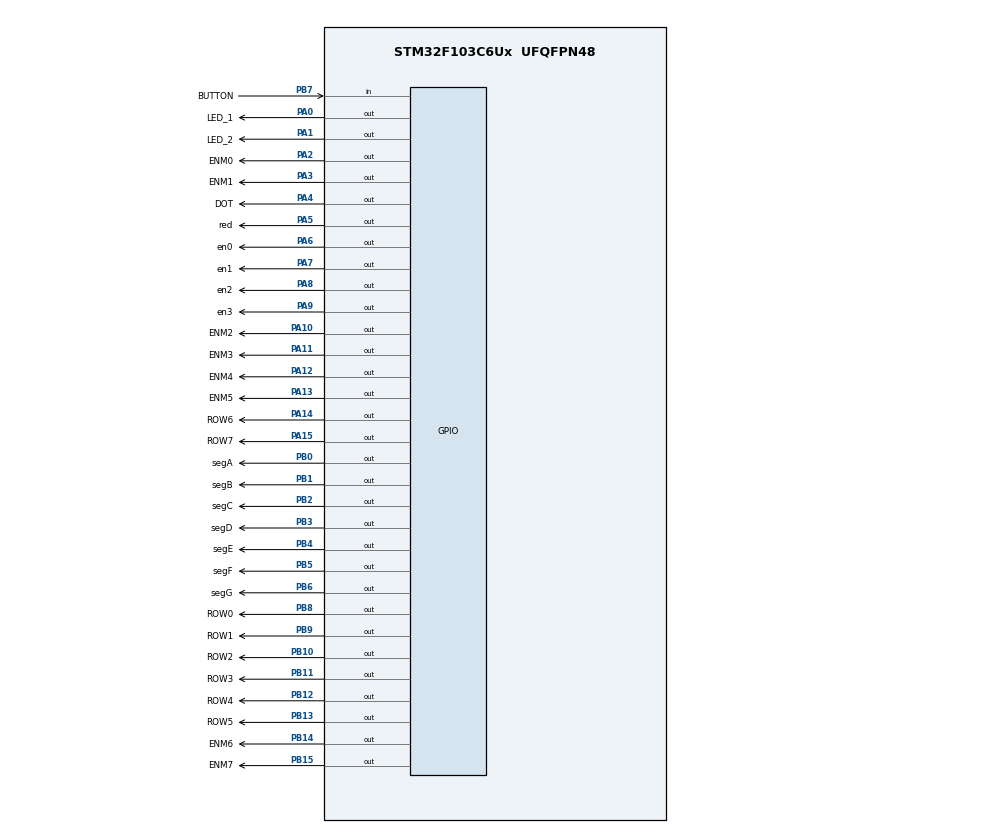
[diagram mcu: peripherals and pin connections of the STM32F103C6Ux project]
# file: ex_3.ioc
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Mcu.Family=STM32F1
Mcu.Name=STM32F103C6Ux
Mcu.Package=UFQFPN48
NVIC.PriorityGroup=NVIC_PRIORITYGROUP_4
NVIC.TIM2_IRQn=true\:0\:0\:false\:false\:true\:true\:true
PA0-WKUP.GPIO_Label=LED_1
PA0-WKUP.GPIO_ModeDefaultOutputPP=GPIO_MODE_OUTPUT_PP
PA0-WKUP.GPIO_Speed=GPIO_SPEED_FREQ_HIGH
PA0-WKUP.PinState=GPIO_PIN_RESET
PA0-WKUP.Signal=GPIO_Output
PA1.GPIO_Label=LED_2
PA1.GPIO_Speed=GPIO_SPEED_FREQ_HIGH
PA1.Signal=GPIO_Output
PA10.GPIO_Label=ENM2
PA10.GPIO_Speed=GPIO_SPEED_FREQ_HIGH
PA10.PinState=GPIO_PIN_SET
PA10.Signal=GPIO_Output
PA11.GPIO_Label=ENM3
PA11.GPIO_Speed=GPIO_SPEED_FREQ_HIGH
PA11.PinState=GPIO_PIN_SET
PA11.Signal=GPIO_Output
PA12.GPIO_Label=ENM4
PA12.GPIO_Speed=GPIO_SPEED_FREQ_HIGH
PA12.PinState=GPIO_PIN_SET
PA12.Signal=GPIO_Output
PA13.GPIO_Label=ENM5
PA13.GPIO_Speed=GPIO_SPEED_FREQ_HIGH
PA13.PinState=GPIO_PIN_SET
PA13.Signal=GPIO_Output
PA14.GPIO_Label=ROW6
PA14.GPIO_Speed=GPIO_SPEED_FREQ_HIGH
PA14.PinState=GPIO_PIN_SET
PA14.Signal=GPIO_Output
PA15.GPIO_Label=ROW7
PA15.GPIO_Speed=GPIO_SPEED_FREQ_HIGH
PA15.PinState=GPIO_PIN_SET
PA15.Signal=GPIO_Output
PA2.GPIO_Label=ENM0
PA2.GPIO_Speed=GPIO_SPEED_FREQ_HIGH
PA2.PinState=GPIO_PIN_SET
PA2.Signal=GPIO_Output
PA3.GPIO_Label=ENM1
PA3.GPIO_Speed=GPIO_SPEED_FREQ_HIGH
PA3.PinState=GPIO_PIN_SET
PA3.Signal=GPIO_Output
PA4.GPIO_Label=DOT
PA4.Signal=GPIO_Output
PA5.GPIO_Label=red
PA5.Signal=GPIO_Output
PA6.GPIO_Label=en0
PA6.PinState=GPIO_PIN_SET
PA6.Signal=GPIO_Output
PA7.GPIO_Label=en1
PA7.PinState=GPIO_PIN_SET
PA7.Signal=GPIO_Output
PA8.GPIO_Label=en2
PA8.PinState=GPIO_PIN_SET
PA8.Signal=GPIO_Output
PA9.GPIO_Label=en3
PA9.PinState=GPIO_PIN_RESET
PA9.Signal=GPIO_Output
PB0.GPIO_Label=segA
PB0.PinState=GPIO_PIN_SET
PB0.Signal=GPIO_Output
PB1.GPIO_Label=segB
PB1.PinState=GPIO_PIN_SET
PB1.Signal=GPIO_Output
PB10.GPIO_Label=ROW2
PB10.GPIO_Speed=GPIO_SPEED_FREQ_HIGH
PB10.PinState=GPIO_PIN_SET
PB10.Signal=GPIO_Output
PB11.GPIO_Label=ROW3
PB11.GPIO_Speed=GPIO_SPEED_FREQ_HIGH
PB11.PinState=GPIO_PIN_SET
PB11.Signal=GPIO_Output
PB12.GPIO_Label=ROW4
PB12.GPIO_Speed=GPIO_SPEED_FREQ_HIGH
PB12.PinState=GPIO_PIN_SET
PB12.Signal=GPIO_Output
PB13.GPIO_Label=ROW5
PB13.GPIO_Speed=GPIO_SPEED_FREQ_HIGH
PB13.PinState=GPIO_PIN_SET
PB13.Signal=GPIO_Output
PB14.GPIO_Label=ENM6
PB14.GPIO_Speed=GPIO_SPEED_FREQ_HIGH
PB14.PinState=GPIO_PIN_SET
PB14.Signal=GPIO_Output
PB15.GPIO_Label=ENM7
PB15.GPIO_Speed=GPIO_SPEED_FREQ_HIGH
PB15.PinState=GPIO_PIN_SET
PB15.Signal=GPIO_Output
PB2.GPIO_Label=segC
PB2.PinState=GPIO_PIN_SET
PB2.Signal=GPIO_Output
PB3.GPIO_Label=segD
PB3.PinState=GPIO_PIN_SET
PB3.Signal=GPIO_Output
PB4.GPIO_Label=segE
PB4.PinState=GPIO_PIN_SET
PB4.Signal=GPIO_Output
PB5.GPIO_Label=segF
PB5.PinState=GPIO_PIN_SET
PB5.Signal=GPIO_Output
PB6.GPIO_Label=segG
PB6.PinState=GPIO_PIN_SET
PB6.Signal=GPIO_Output
PB7.GPIO_Label=BUTTON
PB7.GPIO_Mode=GPIO_MODE_INPUT
PB7.GPIO_PuPd=GPIO_PULLDOWN
PB7.Signal=GPIO_Input
PB8.GPIO_Label=ROW0
PB8.GPIO_Speed=GPIO_SPEED_FREQ_HIGH
PB8.PinState=GPIO_PIN_SET
PB8.Signal=GPIO_Output
PB9.GPIO_Label=ROW1
PB9.GPIO_Speed=GPIO_SPEED_FREQ_HIGH
PB9.PinState=GPIO_PIN_SET
PB9.Signal=GPIO_Output
ProjectManager.HeapSize=0x200
ProjectManager.StackSize=0x400
ProjectManager.TargetToolchain=STM32CubeIDE
RCC.APB1Freq_Value=8000000
RCC.APB2Freq_Value=8000000
TIM2.Period=9
TIM2.Prescaler=1599
VP_SYS_VS_ND.Mode=No_Debug
VP_TIM2_VS_ClockSourceINT.Mode=Internal
board=custom

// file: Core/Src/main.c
/* USER CODE BEGIN Header */
/**
  ******************************************************************************
  * @file           : main.c
  * @brief          : Main program body
  ******************************************************************************
  * @attention
  *
  * <h2><center>&copy; Copyright (c) 2023 STMicroelectronics.
  * All rights reserved.</center></h2>
  *
  * This software component is licensed by ST under BSD 3-Clause license,
  * the "License"; You may not use this file except in compliance with the
  * License. You may obtain a copy of the License at:
  *                        opensource.org/licenses/BSD-3-Clause
  *
  ******************************************************************************
  */
/* USER CODE END Header */
#include "main.h"

/* USER CODE BEGIN Includes */
#include "softwareTimer.h"
#include "7seg.h"
/* USER CODE END Includes */

TIM_HandleTypeDef htim2;

void SystemClock_Config(void);
static void MX_GPIO_Init(void);
static void MX_TIM2_Init(void);

/* USER CODE BEGIN 0 */
int status;
/* USER CODE END 0 */

int main(void)
{

  /* MCU Configuration--------------------------------------------------------*/

  /* Reset of all peripherals, Initializes the Flash interface and the Systick. */
  HAL_Init();

  /* Configure the system clock */
  SystemClock_Config();

  /* Initialize all configured peripherals */
  MX_GPIO_Init();
  MX_TIM2_Init();
  /* USER CODE BEGIN 2 */
  HAL_TIM_Base_Start_IT(&htim2);
  /* USER CODE END 2 */

  /* Infinite loop */
  /* USER CODE BEGIN WHILE */
  setTimer1(50);
  setTimer2(100);
  status= 1;
  display7Seg(1);
  while (1)
  {
	  if (flag1== 1)
	  {
		  HAL_GPIO_TogglePin(red_GPIO_Port, red_Pin);
		  switch (status)
		  {
			case 1:
				HAL_GPIO_TogglePin(en0_GPIO_Port, en0_Pin);
				display7Seg(2);
				HAL_GPIO_TogglePin(en1_GPIO_Port, en1_Pin);
				status= 2;
				break;
			case 2:
				HAL_GPIO_TogglePin(en1_GPIO_Port, en1_Pin);
				display7Seg(3);
				HAL_GPIO_TogglePin(en2_GPIO_Port, en2_Pin);
				status= 3;
				break;
			case 3:
				HAL_GPIO_TogglePin(en2_GPIO_Port, en2_Pin);
				display7Seg(0);
				HAL_GPIO_TogglePin(en3_GPIO_Port, en3_Pin);
				status= 4;
				break;
			case 4:
				HAL_GPIO_TogglePin(en3_GPIO_Port, en3_Pin);
				display7Seg(1);
				HAL_GPIO_TogglePin(en0_GPIO_Port, en0_Pin);
				status= 1;
				break;
			default:
				break;
		  }

		  setTimer1(50);
	  }
	  if (flag2== 1)
	  {
		  HAL_GPIO_TogglePin(DOT_GPIO_Port, DOT_Pin);
		  setTimer2(100);
	  }
    /* USER CODE END WHILE */

  }
}

void SystemClock_Config(void)
{
  RCC_OscInitTypeDef RCC_OscInitStruct = {0};
  RCC_ClkInitTypeDef RCC_ClkInitStruct = {0};

  /** Initializes the RCC Oscillators according to the specified parameters
  * in the RCC_OscInitTypeDef structure.
  */
  RCC_OscInitStruct.OscillatorType = RCC_OSCILLATORTYPE_HSI;
  RCC_OscInitStruct.HSIState = RCC_HSI_ON;
  RCC_OscInitStruct.HSICalibrationValue = RCC_HSICALIBRATION_DEFAULT;
  RCC_OscInitStruct.PLL.PLLState = RCC_PLL_NONE;
  if (HAL_RCC_OscConfig(&RCC_OscInitStruct) != HAL_OK)
  {
    Error_Handler();
  }
  /** Initializes the CPU, AHB and APB buses clocks
  */
  RCC_ClkInitStruct.ClockType = RCC_CLOCKTYPE_HCLK|RCC_CLOCKTYPE_SYSCLK
                              |RCC_CLOCKTYPE_PCLK1|RCC_CLOCKTYPE_PCLK2;
  RCC_ClkInitStruct.SYSCLKSource = RCC_SYSCLKSOURCE_HSI;
  RCC_ClkInitStruct.AHBCLKDivider = RCC_SYSCLK_DIV1;
  RCC_ClkInitStruct.APB1CLKDivider = RCC_HCLK_DIV1;
  RCC_ClkInitStruct.APB2CLKDivider = RCC_HCLK_DIV1;

  if (HAL_RCC_ClockConfig(&RCC_ClkInitStruct, FLASH_LATENCY_0) != HAL_OK)
  {
    Error_Handler();
  }
}

static void MX_TIM2_Init(void)
{

  TIM_ClockConfigTypeDef sClockSourceConfig = {0};
  TIM_MasterConfigTypeDef sMasterConfig = {0};

  htim2.Instance = TIM2;
  htim2.Init.Prescaler = 7999;
  htim2.Init.CounterMode = TIM_COUNTERMODE_UP;
  htim2.Init.Period = 9;
  htim2.Init.ClockDivision = TIM_CLOCKDIVISION_DIV1;
  htim2.Init.AutoReloadPreload = TIM_AUTORELOAD_PRELOAD_DISABLE;
  if (HAL_TIM_Base_Init(&htim2) != HAL_OK)
  {
    Error_Handler();
  }
  sClockSourceConfig.ClockSource = TIM_CLOCKSOURCE_INTERNAL;
  if (HAL_TIM_ConfigClockSource(&htim2, &sClockSourceConfig) != HAL_OK)
  {
    Error_Handler();
  }
  sMasterConfig.MasterOutputTrigger = TIM_TRGO_RESET;
  sMasterConfig.MasterSlaveMode = TIM_MASTERSLAVEMODE_DISABLE;
  if (HAL_TIMEx_MasterConfigSynchronization(&htim2, &sMasterConfig) != HAL_OK)
  {
    Error_Handler();
  }

}

static void MX_GPIO_Init(void)
{
  GPIO_InitTypeDef GPIO_InitStruct = {0};

  /* GPIO Ports Clock Enable */
  __HAL_RCC_GPIOA_CLK_ENABLE();
  __HAL_RCC_GPIOB_CLK_ENABLE();

  /*Configure GPIO pin Output Level */
  HAL_GPIO_WritePin(GPIOA, DOT_Pin|red_Pin|en0_Pin, GPIO_PIN_RESET);

  /*Configure GPIO pin Output Level */
  HAL_GPIO_WritePin(GPIOA, en1_Pin|en2_Pin|en3_Pin, GPIO_PIN_SET);

  /*Configure GPIO pin Output Level */
  HAL_GPIO_WritePin(GPIOB, segA_Pin|segB_Pin|segC_Pin|segD_Pin
                          |segE_Pin|segF_Pin|segG_Pin, GPIO_PIN_RESET);

  /*Configure GPIO pins : DOT_Pin red_Pin en0_Pin en1_Pin
                           en2_Pin en3_Pin */
  GPIO_InitStruct.Pin = DOT_Pin|red_Pin|en0_Pin|en1_Pin
                          |en2_Pin|en3_Pin;
  GPIO_InitStruct.Mode = GPIO_MODE_OUTPUT_PP;
  GPIO_InitStruct.Pull = GPIO_NOPULL;
  GPIO_InitStruct.Speed = GPIO_SPEED_FREQ_LOW;
  HAL_GPIO_Init(GPIOA, &GPIO_InitStruct);

  /*Configure GPIO pins : segA_Pin segB_Pin segC_Pin segD_Pin
                           segE_Pin segF_Pin segG_Pin */
  GPIO_InitStruct.Pin = segA_Pin|segB_Pin|segC_Pin|segD_Pin
                          |segE_Pin|segF_Pin|segG_Pin;
  GPIO_InitStruct.Mode = GPIO_MODE_OUTPUT_PP;
  GPIO_InitStruct.Pull = GPIO_NOPULL;
  GPIO_InitStruct.Speed = GPIO_SPEED_FREQ_LOW;
  HAL_GPIO_Init(GPIOB, &GPIO_InitStruct);

}

/* USER CODE BEGIN 4 */
void HAL_TIM_PeriodElapsedCallback(TIM_HandleTypeDef *htim)
{
//	HAL_Delay(10);
	runTimer();
}
/* USER CODE END 4 */

void Error_Handler(void)
{
  __disable_irq();
  while (1)
  {
  }
}

/************************ (C) COPYRIGHT STMicroelectronics *****END OF FILE****/
